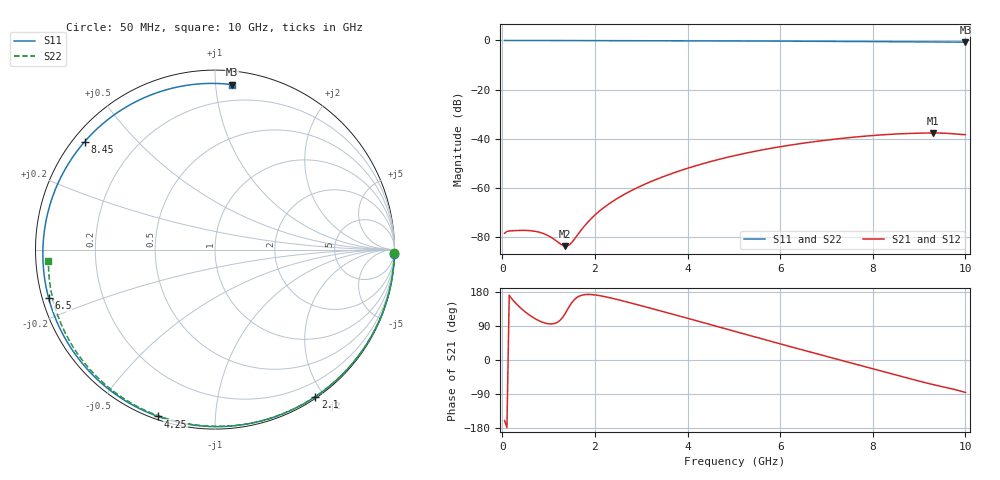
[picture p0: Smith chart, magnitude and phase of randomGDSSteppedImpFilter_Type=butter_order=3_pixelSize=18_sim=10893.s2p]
! freq	dB(S11)	phase(S11)	dB(S12)	phase(S12)
!  dB(S21)	phase(S21)	dB(S22)	phase(S22)
!S-par simulation data
#  GHz  S  DB  R 50
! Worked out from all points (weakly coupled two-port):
!   200 points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, 50 MHz to 10 GHz, reference 50 ohm
!   highest |S21| = -37.61 dB at 9.3 GHz (marker M1); lowest = -83.6 dB at 1.35 GHz (marker M2)
!   lowest |S11| = -0.7 dB at 10 GHz (marker M3), VSWR 25.40, Z = 4.37 + j55.2 ohm
!   |S11| at or under -10 dB: nowhere
!   |S22| runs from -0.6 to 0.0 dB; largest |S21 - S12| = 0
!   S11 on the Smith chart (normalised r, x): 50 MHz: 0, -84; 2.1 GHz: 0.02, -1.89; 4.25 GHz: 0.01, -0.72; 6.5 GHz: 0.02, -0.14; 8.45 GHz: 0.03, +0.36; 10 GHz: 0.09, +1.10
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0.05  -0.00 -1.4  -78.35 -159.7  -78.35 -159.7  -0.00 -1.0
0.15  -0.00 -4.1  -77.45 170.8  -77.45 170.8  -0.00 -3.0
0.55  -0.01 -14.9  -77.24 121.7  -77.24 121.7  -0.01 -11.1
0.8  -0.02 -21.6  -77.96 103.2  -77.96 103.2  -0.02 -16.1
1.05  -0.03 -28.3  -79.96 95.1  -79.96 95.1  -0.02 -21.1
1.35  -0.04 -36.2  -83.61 121.1  -83.61 121.1  -0.03 -27.0
1.6  -0.05 -42.8  -79.67 164.0  -79.67 164.0  -0.04 -31.9
1.75  -0.06 -46.7  -75.96 171.9  -75.96 171.9  -0.04 -34.8
2.1  -0.07 -55.7  -69.32 169.9  -69.32 169.9  -0.05 -41.5
2.65  -0.09 -69.7  -62.39 154.5  -62.39 154.5  -0.07 -51.9
3.4  -0.12 -88.3  -55.90 130.1  -55.90 130.1  -0.09 -65.7
4.25  -0.15 -108.9  -50.52 101.7  -50.52 101.7  -0.11 -80.8
5.05  -0.20 -128.1  -46.66 74.6  -46.66 74.6  -0.14 -94.4
5.8  -0.25 -146.3  -43.84 49.3  -43.84 49.3  -0.18 -106.8
6.5  -0.31 -163.8  -41.74 26.0  -41.74 26.0  -0.22 -118.1
6.7  -0.32 -169.0  -41.23 19.4  -41.23 19.4  -0.24 -121.3
7.55  -0.41 167.8  -39.38 -8.5  -39.38 -8.5  -0.30 -134.8
8.35  -0.50 143.6  -38.18 -34.8  -38.18 -34.8  -0.38 -147.6
8.45  -0.51 140.4  -38.07 -38.1  -38.07 -38.1  -0.39 -149.2
9.3  -0.61 111.0  -37.61 -64.8  -37.61 -64.8  -0.50 -163.3
9.65  -0.65 97.8  -37.79 -74.5  -37.79 -74.5  -0.56 -169.5
10  -0.68 84.2  -38.31 -85.7  -38.31 -85.7  -0.63 -176.1
